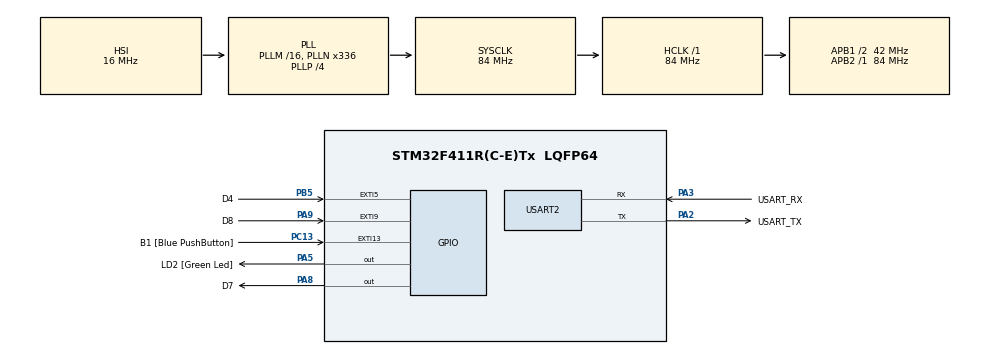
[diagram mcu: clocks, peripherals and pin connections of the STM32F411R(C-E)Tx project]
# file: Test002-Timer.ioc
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Mcu.Family=STM32F4
Mcu.Name=STM32F411R(C-E)Tx
Mcu.Package=LQFP64
NVIC.EXTI15_10_IRQn=true\:0\:0\:false\:false\:true\:true\:true\:true
NVIC.EXTI9_5_IRQn=true\:0\:0\:false\:false\:true\:true\:true\:true
NVIC.PriorityGroup=NVIC_PRIORITYGROUP_0
NVIC.TIM2_IRQn=true\:0\:0\:false\:false\:true\:true\:true\:true
NVIC.TIM3_IRQn=true\:0\:0\:false\:false\:true\:true\:true\:true
PA13.GPIO_Label=TMS
PA13.Mode=Serial_Wire
PA13.Signal=SYS_JTMS-SWDIO
PA14.GPIO_Label=TCK
PA14.Mode=Serial_Wire
PA14.Signal=SYS_JTCK-SWCLK
PA2.GPIO_Label=USART_TX
PA2.Mode=Asynchronous
PA2.Signal=USART2_TX
PA3.GPIO_Label=USART_RX
PA3.Mode=Asynchronous
PA3.Signal=USART2_RX
PA5.GPIO_Label=LD2 [Green Led]
PA5.Signal=GPIO_Output
PA8.GPIO_Label=D7
PA8.Signal=GPIO_Output
PA9.GPIO_Label=D8
PA9.Signal=GPXTI9
PB3.GPIO_Label=SWO
PB3.Signal=SYS_JTDO-SWO
PB5.GPIO_Label=D4
PB5.Signal=GPXTI5
PC13-ANTI_TAMP.GPIO_Label=B1 [Blue PushButton]
PC13-ANTI_TAMP.GPIO_ModeDefaultEXTI=GPIO_MODE_IT_FALLING
PC13-ANTI_TAMP.Signal=GPXTI13
PC14-OSC32_IN.Mode=LSE-External-Oscillator
PC14-OSC32_IN.Signal=RCC_OSC32_IN
PC15-OSC32_OUT.Mode=LSE-External-Oscillator
PC15-OSC32_OUT.Signal=RCC_OSC32_OUT
PH0\ -\ OSC_IN.Mode=HSE-External-Clock-Source
PH0\ -\ OSC_IN.Signal=RCC_OSC_IN
PH1\ -\ OSC_OUT.Mode=HSE-External-Clock-Source
PH1\ -\ OSC_OUT.Signal=RCC_OSC_OUT
ProjectManager.HeapSize=0x200
ProjectManager.StackSize=0x400
ProjectManager.TargetToolchain=STM32CubeIDE
RCC.48MHZClocksFreq_Value=84000000
RCC.AHBFreq_Value=84000000
RCC.APB1CLKDivider=RCC_HCLK_DIV2
RCC.APB1Freq_Value=42000000
RCC.APB1TimFreq_Value=84000000
RCC.APB2Freq_Value=84000000
RCC.APB2TimFreq_Value=84000000
RCC.CortexFreq_Value=84000000
RCC.FLatency-AdvancedSettings=FLASH_LATENCY_2
RCC.HCLKFreq_Value=84000000
RCC.HSE_VALUE=8000000
RCC.HSI_VALUE=16000000
RCC.PLLN=336
RCC.PLLP=RCC_PLLP_DIV4
RCC.SYSCLKFreq_VALUE=84000000
RCC.SYSCLKSource=RCC_SYSCLKSOURCE_PLLCLK
RCC.VCOOutputFreq_Value=336000000
TIM2.Period=10000-1
TIM2.Prescaler=8400-1
TIM3.Period=10000-1
TIM3.Prescaler=8400-1
USART2.VirtualMode=VM_ASYNC
VP_TIM2_VS_ClockSourceINT.Mode=Internal
VP_TIM3_VS_ClockSourceINT.Mode=Internal
board=NUCLEO-F411RE

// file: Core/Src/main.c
/* USER CODE BEGIN Header */
/**
  ******************************************************************************
  * @file           : main.c
  * @brief          : Main program body
  ******************************************************************************
  * @attention
  *
  * Copyright (c) 2024 STMicroelectronics.
  * All rights reserved.
  *
  * This software is licensed under terms that can be found in the LICENSE file
  * in the root directory of this software component.
  * If no LICENSE file comes with this software, it is provided AS-IS.
  *
  ******************************************************************************
  */
/* USER CODE END Header */
#include "main.h"

TIM_HandleTypeDef htim2;
TIM_HandleTypeDef htim3;

UART_HandleTypeDef huart2;

void SystemClock_Config(void);
static void MX_GPIO_Init(void);
static void MX_USART2_UART_Init(void);
static void MX_TIM3_Init(void);
static void MX_TIM2_Init(void);

/* USER CODE BEGIN 0 */
void HAL_TIM_PeriodElapsedCallback(TIM_HandleTypeDef *htim)
{
	if(htim == &htim3)
	{
		HAL_GPIO_TogglePin(LD2_GPIO_Port, LD2_Pin); // Toggle?��?��?�� ?��?���??? 0?���??? 1�???, 1?���??? 0?���??? 바�?�게 ?��
	}
	else if(htim == &htim2)
	{
		HAL_GPIO_TogglePin(D7_GPIO_Port, D7_Pin); // Toggle?��?��?�� ?��?���??? 0?���??? 1�???, 1?���??? 0?���??? 바�?�게 ?��
	}
}
void HAL_GPIO_EXTI_Callback(uint16_t GPIO_Pin)
{
	switch(GPIO_Pin)
	{
	case D8_Pin:
		htim3.Instance -> ARR -= 1000;
		if(htim3.Instance -> ARR < 2000)
			htim3.Instance -> ARR = 1000;
		break;
	case D4_Pin:
		htim3.Instance -> ARR += 1000;
		if(htim3.Instance -> ARR > 10000)
			htim3.Instance -> ARR = 10000;
		break;
	}
}
/* USER CODE END 0 */

int main(void)
{

  /* MCU Configuration--------------------------------------------------------*/

  /* Reset of all peripherals, Initializes the Flash interface and the Systick. */
  HAL_Init();

  /* Configure the system clock */
  SystemClock_Config();

  /* Initialize all configured peripherals */
  MX_GPIO_Init();
  MX_USART2_UART_Init();
  MX_TIM3_Init();
  MX_TIM2_Init();
  /* USER CODE BEGIN 2 */
  HAL_TIM_Base_Start_IT(&htim2);
  HAL_TIM_Base_Start_IT(&htim3);

  /* USER CODE END 2 */

  /* Infinite loop */
  while (1)
  {

    /* USER CODE BEGIN 3 */
	  /*for(int i = 1; i < 20; i++)
	  {
		  htim3.Instance -> ARR = i * 450;
		  HAL_Delay(500);
	  }*/
  }
  /* USER CODE END 3 */
}

void SystemClock_Config(void)
{
  RCC_OscInitTypeDef RCC_OscInitStruct = {0};
  RCC_ClkInitTypeDef RCC_ClkInitStruct = {0};

  /** Configure the main internal regulator output voltage
  */
  __HAL_RCC_PWR_CLK_ENABLE();
  __HAL_PWR_VOLTAGESCALING_CONFIG(PWR_REGULATOR_VOLTAGE_SCALE1);

  /** Initializes the RCC Oscillators according to the specified parameters
  * in the RCC_OscInitTypeDef structure.
  */
  RCC_OscInitStruct.OscillatorType = RCC_OSCILLATORTYPE_HSI;
  RCC_OscInitStruct.HSIState = RCC_HSI_ON;
  RCC_OscInitStruct.HSICalibrationValue = RCC_HSICALIBRATION_DEFAULT;
  RCC_OscInitStruct.PLL.PLLState = RCC_PLL_ON;
  RCC_OscInitStruct.PLL.PLLSource = RCC_PLLSOURCE_HSI;
  RCC_OscInitStruct.PLL.PLLM = 16;
  RCC_OscInitStruct.PLL.PLLN = 336;
  RCC_OscInitStruct.PLL.PLLP = RCC_PLLP_DIV4;
  RCC_OscInitStruct.PLL.PLLQ = 4;
  if (HAL_RCC_OscConfig(&RCC_OscInitStruct) != HAL_OK)
  {
    Error_Handler();
  }

  /** Initializes the CPU, AHB and APB buses clocks
  */
  RCC_ClkInitStruct.ClockType = RCC_CLOCKTYPE_HCLK|RCC_CLOCKTYPE_SYSCLK
                              |RCC_CLOCKTYPE_PCLK1|RCC_CLOCKTYPE_PCLK2;
  RCC_ClkInitStruct.SYSCLKSource = RCC_SYSCLKSOURCE_PLLCLK;
  RCC_ClkInitStruct.AHBCLKDivider = RCC_SYSCLK_DIV1;
  RCC_ClkInitStruct.APB1CLKDivider = RCC_HCLK_DIV2;
  RCC_ClkInitStruct.APB2CLKDivider = RCC_HCLK_DIV1;

  if (HAL_RCC_ClockConfig(&RCC_ClkInitStruct, FLASH_LATENCY_2) != HAL_OK)
  {
    Error_Handler();
  }
}

static void MX_TIM2_Init(void)
{

  TIM_ClockConfigTypeDef sClockSourceConfig = {0};
  TIM_MasterConfigTypeDef sMasterConfig = {0};

  htim2.Instance = TIM2;
  htim2.Init.Prescaler = 8400-1;
  htim2.Init.CounterMode = TIM_COUNTERMODE_UP;
  htim2.Init.Period = 10000-1;
  htim2.Init.ClockDivision = TIM_CLOCKDIVISION_DIV1;
  htim2.Init.AutoReloadPreload = TIM_AUTORELOAD_PRELOAD_DISABLE;
  if (HAL_TIM_Base_Init(&htim2) != HAL_OK)
  {
    Error_Handler();
  }
  sClockSourceConfig.ClockSource = TIM_CLOCKSOURCE_INTERNAL;
  if (HAL_TIM_ConfigClockSource(&htim2, &sClockSourceConfig) != HAL_OK)
  {
    Error_Handler();
  }
  sMasterConfig.MasterOutputTrigger = TIM_TRGO_RESET;
  sMasterConfig.MasterSlaveMode = TIM_MASTERSLAVEMODE_DISABLE;
  if (HAL_TIMEx_MasterConfigSynchronization(&htim2, &sMasterConfig) != HAL_OK)
  {
    Error_Handler();
  }

}

static void MX_TIM3_Init(void)
{

  TIM_ClockConfigTypeDef sClockSourceConfig = {0};
  TIM_MasterConfigTypeDef sMasterConfig = {0};

  htim3.Instance = TIM3;
  htim3.Init.Prescaler = 8400-1;
  htim3.Init.CounterMode = TIM_COUNTERMODE_UP;
  htim3.Init.Period = 10000-1;
  htim3.Init.ClockDivision = TIM_CLOCKDIVISION_DIV1;
  htim3.Init.AutoReloadPreload = TIM_AUTORELOAD_PRELOAD_DISABLE;
  if (HAL_TIM_Base_Init(&htim3) != HAL_OK)
  {
    Error_Handler();
  }
  sClockSourceConfig.ClockSource = TIM_CLOCKSOURCE_INTERNAL;
  if (HAL_TIM_ConfigClockSource(&htim3, &sClockSourceConfig) != HAL_OK)
  {
    Error_Handler();
  }
  sMasterConfig.MasterOutputTrigger = TIM_TRGO_RESET;
  sMasterConfig.MasterSlaveMode = TIM_MASTERSLAVEMODE_DISABLE;
  if (HAL_TIMEx_MasterConfigSynchronization(&htim3, &sMasterConfig) != HAL_OK)
  {
    Error_Handler();
  }

}

static void MX_USART2_UART_Init(void)
{

  huart2.Instance = USART2;
  huart2.Init.BaudRate = 115200;
  huart2.Init.WordLength = UART_WORDLENGTH_8B;
  huart2.Init.StopBits = UART_STOPBITS_1;
  huart2.Init.Parity = UART_PARITY_NONE;
  huart2.Init.Mode = UART_MODE_TX_RX;
  huart2.Init.HwFlowCtl = UART_HWCONTROL_NONE;
  huart2.Init.OverSampling = UART_OVERSAMPLING_16;
  if (HAL_UART_Init(&huart2) != HAL_OK)
  {
    Error_Handler();
  }

}

static void MX_GPIO_Init(void)
{
  GPIO_InitTypeDef GPIO_InitStruct = {0};

  /* GPIO Ports Clock Enable */
  __HAL_RCC_GPIOC_CLK_ENABLE();
  __HAL_RCC_GPIOH_CLK_ENABLE();
  __HAL_RCC_GPIOA_CLK_ENABLE();
  __HAL_RCC_GPIOB_CLK_ENABLE();

  /*Configure GPIO pin Output Level */
  HAL_GPIO_WritePin(GPIOA, LD2_Pin|D7_Pin, GPIO_PIN_RESET);

  /*Configure GPIO pin : B1_Pin */
  GPIO_InitStruct.Pin = B1_Pin;
  GPIO_InitStruct.Mode = GPIO_MODE_IT_FALLING;
  GPIO_InitStruct.Pull = GPIO_NOPULL;
  HAL_GPIO_Init(B1_GPIO_Port, &GPIO_InitStruct);

  /*Configure GPIO pins : LD2_Pin D7_Pin */
  GPIO_InitStruct.Pin = LD2_Pin|D7_Pin;
  GPIO_InitStruct.Mode = GPIO_MODE_OUTPUT_PP;
  GPIO_InitStruct.Pull = GPIO_NOPULL;
  GPIO_InitStruct.Speed = GPIO_SPEED_FREQ_LOW;
  HAL_GPIO_Init(GPIOA, &GPIO_InitStruct);

  /*Configure GPIO pin : D8_Pin */
  GPIO_InitStruct.Pin = D8_Pin;
  GPIO_InitStruct.Mode = GPIO_MODE_IT_RISING;
  GPIO_InitStruct.Pull = GPIO_NOPULL;
  HAL_GPIO_Init(D8_GPIO_Port, &GPIO_InitStruct);

  /*Configure GPIO pin : D4_Pin */
  GPIO_InitStruct.Pin = D4_Pin;
  GPIO_InitStruct.Mode = GPIO_MODE_IT_RISING;
  GPIO_InitStruct.Pull = GPIO_NOPULL;
  HAL_GPIO_Init(D4_GPIO_Port, &GPIO_InitStruct);

  /* EXTI interrupt init*/
  HAL_NVIC_SetPriority(EXTI9_5_IRQn, 0, 0);
  HAL_NVIC_EnableIRQ(EXTI9_5_IRQn);

  HAL_NVIC_SetPriority(EXTI15_10_IRQn, 0, 0);
  HAL_NVIC_EnableIRQ(EXTI15_10_IRQn);

}

void Error_Handler(void)
{
  __disable_irq();
  while (1)
  {
  }
}
